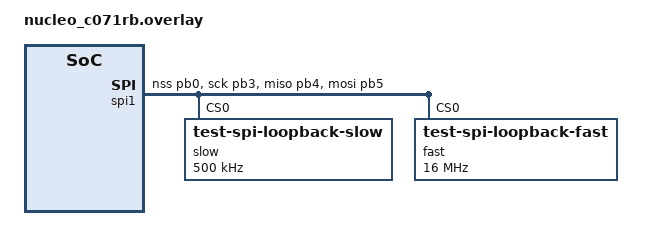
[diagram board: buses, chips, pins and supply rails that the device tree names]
/*
 * Copyright (c) 2025 STMicroelectronics
 *
 * SPDX-License-Identifier: Apache-2.0
 */

&spi1 {
	pinctrl-0 = <&spi1_nss_pb0 &spi1_sck_pb3 &spi1_miso_pb4 &spi1_mosi_pb5>;
	dmas = <&dmamux1 2 17 (STM32_DMA_PERIPH_TX | STM32_DMA_PRIORITY_HIGH)>,
	       <&dmamux1 1 16 (STM32_DMA_PERIPH_RX | STM32_DMA_PRIORITY_HIGH)>;
	dma-names = "tx", "rx";

	slow@0 {
		compatible = "test-spi-loopback-slow";
		reg = <0>;
		spi-max-frequency = <DT_FREQ_K(500)>;
	};

	fast@0 {
		compatible = "test-spi-loopback-fast";
		reg = <0>;
		spi-max-frequency = <DT_FREQ_M(16)>;
	};
};

&dma1 {
	status = "okay";
};

&dmamux1 {
	status = "okay";
};
